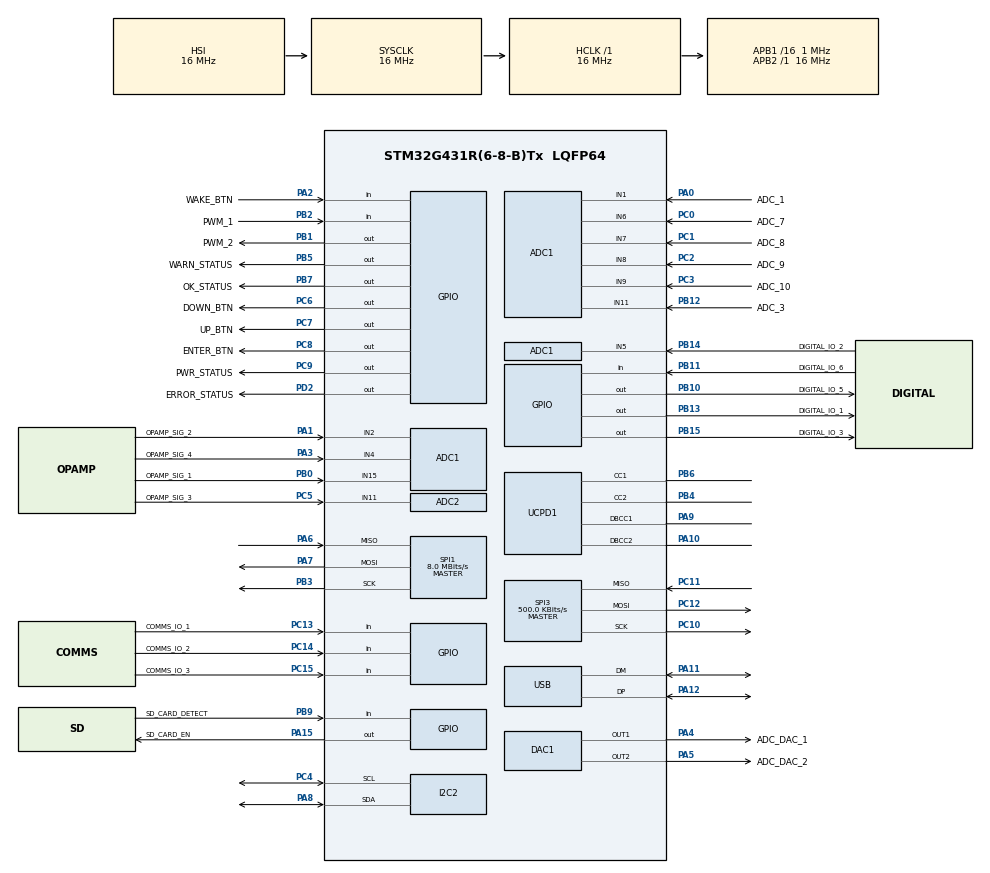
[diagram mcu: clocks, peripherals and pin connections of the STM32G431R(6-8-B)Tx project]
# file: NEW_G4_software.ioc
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ADC1.Channel-0\#ChannelRegularConversion=ADC_CHANNEL_1
ADC1.NbrOfConversionFlag=1
ADC1.OffsetNumber-0\#ChannelRegularConversion=ADC_OFFSET_NONE
ADC1.Rank-0\#ChannelRegularConversion=1
ADC1.SamplingTime-0\#ChannelRegularConversion=ADC_SAMPLETIME_2CYCLES_5
ADC1.master=1
ADC2.Channel-0\#ChannelRegularConversion=ADC_CHANNEL_11
ADC2.NbrOfConversionFlag=1
ADC2.OffsetNumber-0\#ChannelRegularConversion=ADC_OFFSET_NONE
ADC2.Rank-0\#ChannelRegularConversion=1
ADC2.SamplingTime-0\#ChannelRegularConversion=ADC_SAMPLETIME_2CYCLES_5
DAC1.DAC_Channel-DAC_OUT2=DAC_CHANNEL_2
I2C2.Timing=0x00000103
LPTIM1.ClockPrescaler=LPTIM_PRESCALER_DIV64
Mcu.Family=STM32G4
Mcu.Name=STM32G431R(6-8-B)Tx
Mcu.Package=LQFP64
NVIC.PriorityGroup=NVIC_PRIORITYGROUP_4
NVIC.USB_LP_IRQn=true\:0\:0\:false\:false\:true\:false\:true\:true
PA0.GPIO_Label=ADC_1
PA0.Mode=IN1-Single-Ended
PA0.Signal=ADC1_IN1
PA1.GPIO_Label=OPAMP_SIG_2
PA1.Mode=IN2-Single-Ended
PA1.Signal=ADC1_IN2
PA10.Mode=EnableDeadBattery
PA10.Signal=UCPD1_DBCC2
PA11.Mode=Device
PA11.Signal=USB_DM
PA12.Mode=Device
PA12.Signal=USB_DP
PA13.Mode=Serial_Wire
PA13.Signal=SYS_JTMS-SWDIO
PA14.Mode=Serial_Wire
PA14.Signal=SYS_JTCK-SWCLK
PA15.GPIO_Label=SD_CARD_EN
PA15.GPIO_ModeDefaultOutputPP=GPIO_MODE_OUTPUT_PP
PA15.GPIO_PuPd=GPIO_NOPULL
PA15.Signal=GPIO_Output
PA2.GPIO_Label=WAKE_BTN
PA2.Signal=GPIO_Input
PA3.GPIO_Label=OPAMP_SIG_4
PA3.Mode=IN4-Single-Ended
PA3.Signal=ADC1_IN4
PA4.GPIO_Label=ADC_DAC_1
PA4.Signal=COMP_DAC11_group
PA5.GPIO_Label=ADC_DAC_2
PA5.Signal=COMP_DAC12_group
PA6.Mode=Full_Duplex_Master
PA6.Signal=SPI1_MISO
PA7.Mode=Full_Duplex_Master
PA7.Signal=SPI1_MOSI
PA8.Mode=I2C
PA8.Signal=I2C2_SDA
PA9.Mode=EnableDeadBattery
PA9.Signal=UCPD1_DBCC1
PB0.GPIO_Label=OPAMP_SIG_1
PB0.Mode=IN15-Single-Ended
PB0.Signal=ADC1_IN15
PB1.GPIO_Label=PWM_2
PB1.Signal=GPIO_Output
PB10.GPIO_Label=DIGITAL_IO_5
PB10.Signal=GPIO_Output
PB11.GPIO_Label=DIGITAL_IO_6
PB11.Signal=GPIO_Input
PB12.GPIO_Label=ADC_3
PB12.Mode=IN11-Single-Ended
PB12.Signal=ADC1_IN11
PB13.GPIO_Label=DIGITAL_IO_1
PB13.Signal=GPIO_Output
PB14.GPIO_Label=DIGITAL_IO_2
PB14.Mode=IN5-Single-Ended
PB14.Signal=ADC1_IN5
PB15.GPIO_Label=DIGITAL_IO_3
PB15.Signal=GPIO_Output
PB2.GPIO_Label=PWM_1
PB2.Signal=GPIO_Input
PB3.Signal=SharedStack_PB3
PB3.Stacked=true
PB4.Mode=Sink_AllSignals
PB4.Signal=UCPD1_CC2
PB5.GPIO_Label=WARN_STATUS
PB5.GPIO_PuPd=GPIO_NOPULL
PB5.Signal=GPIO_Output
PB6.Mode=Sink_AllSignals
PB6.Signal=UCPD1_CC1
PB7.GPIO_Label=OK_STATUS
PB7.GPIO_ModeDefaultOutputPP=GPIO_MODE_OUTPUT_PP
PB7.GPIO_PuPd=GPIO_NOPULL
PB7.PinState=GPIO_PIN_RESET
PB7.Signal=GPIO_Output
PB9.GPIO_Label=SD_CARD_DETECT
PB9.Signal=GPIO_Input
PC0.GPIO_Label=ADC_7
PC0.Mode=IN6-Single-Ended
PC0.Signal=ADC1_IN6
PC1.GPIO_Label=ADC_8
PC1.Mode=IN7-Single-Ended
PC1.Signal=ADC1_IN7
PC10.Mode=Full_Duplex_Master
PC10.Signal=SPI3_SCK
PC11.Mode=Full_Duplex_Master
PC11.Signal=SPI3_MISO
PC12.Mode=Full_Duplex_Master
PC12.Signal=SPI3_MOSI
PC13.GPIO_Label=COMMS_IO_1
PC13.Signal=GPIO_Input
PC14-OSC32_IN.GPIO_Label=COMMS_IO_2
PC14-OSC32_IN.Signal=GPIO_Input
PC15-OSC32_OUT.GPIO_Label=COMMS_IO_3
PC15-OSC32_OUT.Signal=GPIO_Input
PC2.GPIO_Label=ADC_9
PC2.Mode=IN8-Single-Ended
PC2.Signal=ADC1_IN8
PC3.GPIO_Label=ADC_10
PC3.Mode=IN9-Single-Ended
PC3.Signal=ADC1_IN9
PC4.Mode=I2C
PC4.Signal=I2C2_SCL
PC5.GPIO_Label=OPAMP_SIG_3
PC5.Mode=IN11-Single-Ended
PC5.Signal=ADC2_IN11
PC6.GPIO_Label=DOWN_BTN
PC6.Signal=GPIO_Output
PC7.GPIO_Label=UP_BTN
PC7.Signal=GPIO_Output
PC8.GPIO_Label=ENTER_BTN
PC8.Signal=GPIO_Output
PC9.GPIO_Label=PWR_STATUS
PC9.Signal=GPIO_Output
PD2.GPIO_Label=ERROR_STATUS
PD2.Signal=GPIO_Output
PF0-OSC_IN.Mode=HSE-External-Oscillator
PF0-OSC_IN.Signal=RCC_OSC_IN
PF1-OSC_OUT.Mode=HSE-External-Oscillator
PF1-OSC_OUT.Signal=RCC_OSC_OUT
ProjectManager.HeapSize=0x200
ProjectManager.StackSize=0x400
ProjectManager.TargetToolchain=STM32CubeIDE
RCC.AHBFreq_Value=16000000
RCC.APB1CLKDivider=RCC_HCLK_DIV16
RCC.APB1Freq_Value=1000000
RCC.APB1TimFreq_Value=2000000
RCC.APB2Freq_Value=16000000
RCC.APB2TimFreq_Value=16000000
RCC.CortexFreq_Value=16000000
RCC.EXTERNAL_CLOCK_VALUE=12288000
RCC.HCLKFreq_Value=16000000
RCC.HSE_VALUE=8000000
RCC.HSI48_VALUE=48000000
RCC.HSI_VALUE=16000000
RCC.LSE_VALUE=32768
RCC.PLLN=12
RCC.PLLQ=RCC_PLLQ_DIV4
RCC.SYSCLKFreq_VALUE=16000000
RCC.USBFreq_Value=48000000
RCC.VCOOutputFreq_Value=192000000
RTC.WakeUpClock-WakeUp=RTC_WAKEUPCLOCK_CK_SPRE_17BITS
RTC.WakeUpCounter-WakeUp=65535
SH.COMP_DAC11_group.0=DAC1_OUT1,DAC_OUT1
SH.COMP_DAC12_group.0=DAC1_OUT2,DAC_OUT2
SH.SharedStack_PB3.0=SPI1_SCK,Full_Duplex_Master
SH.SharedStack_PB3.1=SYS_JTDO-SWO
SPI1.CalculateBaudRate=8.0 MBits/s
SPI1.Direction=SPI_DIRECTION_2LINES
SPI1.Mode=SPI_MODE_MASTER
SPI1.VirtualType=VM_MASTER
SPI3.CalculateBaudRate=500.0 KBits/s
SPI3.Direction=SPI_DIRECTION_2LINES
SPI3.Mode=SPI_MODE_MASTER
SPI3.VirtualType=VM_MASTER
USB_DEVICE.CLASS_NAME_FS=CDC
USB_DEVICE.VirtualMode=Cdc
USB_DEVICE.VirtualModeFS=Cdc_FS
VP_ADC1_Vbat_Input.Mode=IN-Vbat
VP_LPTIM1_VS_LPTIM_counterModeInternalClock.Mode=Counts__internal_clock_event_00
VP_RTC_VS_RTC_Activate.Mode=RTC_Enabled
VP_RTC_VS_RTC_WakeUp_intern.Mode=WakeUp
VP_SYS_VS_DBSignals.Mode=DisableDeadBatterySignals
VP_USB_DEVICE_VS_USB_DEVICE_CDC_FS.Mode=CDC_FS
board=custom

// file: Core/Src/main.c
/* USER CODE BEGIN Header */
/**
  ******************************************************************************
  * @file           : main.c
  * @brief          : Main program body
  ******************************************************************************
  * @attention
  *
  * Copyright (c) 2024 STMicroelectronics.
  * All rights reserved.
  *
  * This software is licensed under terms that can be found in the LICENSE file
  * in the root directory of this software component.
  * If no LICENSE file comes with this software, it is provided AS-IS.
  *
  ******************************************************************************
  */
/* USER CODE END Header */
#include "main.h"
#include "adc.h"
#include "dac.h"
#include "i2c.h"
#include "lptim.h"
#include "rtc.h"
#include "spi.h"
#include "ucpd.h"
#include "usb_device.h"
#include "gpio.h"

/* USER CODE BEGIN PV */
#define MCP9804_ADDR 0b0011000 // the last 3 digits change for each pin
#define MCP9804_REG_TEMP 0x05

uint16_t Size = 8;

/*FATFS SDFatFs;    // File system object for SD card logical drive
FIL MyFile;       // File object
char SDPath[4];   // SD card logical drive path*/
/* USER CODE BEGIN PV */
//static void MX_SDMMC1_SD_Init(void);

int32_t readMCP9804Temp(uint8_t tempRegAddr) {
	uint8_t tempData[2];
	int32_t tempC = -100;
	uint8_t store = 0b00000101;
	HAL_I2C_Master_Transmit(&hi2c2, MCP9804_ADDR, &store, 1, HAL_MAX_DELAY);
	if (HAL_I2C_Master_Receive(&hi2c2, MCP9804_ADDR, tempData, 2, HAL_MAX_DELAY) != HAL_OK){
		HAL_GPIO_WritePin(ERROR_STATUS_GPIO_Port, ERROR_STATUS_Pin, GPIO_PIN_RESET); // Turn on error LED
	}
	uint16_t rawTemp = (tempData[0] << 8) | tempData[1];
	rawTemp &= 0x0FFF;  // Clear flags and keep 12 bits
	tempC = rawTemp & 0x0FFF;
	tempC /= 16.0;
	if (rawTemp & 0x1000) {  // Check sign bit
	  tempC -= 256.0;
	}
    return tempC;
}

uint8_t UpperByte, LowerByte;

/* USER CODE END PV */

void SystemClock_Config(void);

/* USER CODE BEGIN 0 */
int main(void)
{

  /* USER CODE BEGIN 1 */

  /* USER CODE END 1 */

  /* MCU Configuration--------------------------------------------------------*/

  /* Reset of all peripherals, Initializes the Flash interface and the Systick. */
  HAL_Init();

  /* USER CODE BEGIN Init */

  /* USER CODE END Init */

  /* Configure the system clock */
  SystemClock_Config();

  /* USER CODE BEGIN SysInit */

  /* USER CODE END SysInit */

  /* Initialize all configured peripherals */
  MX_GPIO_Init();
  MX_ADC1_Init();
  MX_ADC2_Init();
  MX_DAC1_Init();
  MX_SPI1_Init();
  MX_UCPD1_Init();
  MX_I2C2_Init();
  MX_RTC_Init();
  MX_USB_Device_Init();
  MX_SPI3_Init();

  __HAL_RCC_LPTIM1_CLK_ENABLE();

  // Create LPTIM handle
  LPTIM_HandleTypeDef hlptim;
  hlptim.Instance = LPTIM1;

  // Configure LPTIM for continuous mode, source from internal clock
  hlptim.Init.Clock.Source = LPTIM_CLOCKSOURCE_APBCLOCK_LPOSC;
  hlptim.Init.Clock.Prescaler = LPTIM_PRESCALER_DIV1; // No prescaling
  hlptim.Init.CounterSource = LPTIM_COUNTERSOURCE_INTERNAL;
  hlptim.Init.Trigger.Source = LPTIM_TRIGSOURCE_SOFTWARE; // Software trigger
  hlptim.Init.OutputPolarity = LPTIM_OUTPUTPOLARITY_HIGH;
  hlptim.Init.UpdateMode = LPTIM_UPDATE_IMMEDIATE;
  //hlptim.Init.RepetitionCounter = 0;  // No repetition

  // Initialize LPTIM
  HAL_LPTIM_Init(&hlptim);
  /* USER CODE BEGIN 2 */
  uint32_t status = HAL_ERROR;

    int num_bytes = 4;

    uint8_t dataToSend[4];
    dataToSend[0] = 0xFF;// Example data
    dataToSend[1] = 0x5;// Example data
    dataToSend[2] = 0xF0;// Example data
    dataToSend[3] = 0xF;// Example data

    //HAL_StatusTypeDef sts = HAL_OK;

    HAL_GPIO_WritePin(OK_STATUS_GPIO_Port, OK_STATUS_Pin, GPIO_PIN_SET); // Turn off success LED
    HAL_GPIO_WritePin(WARN_STATUS_GPIO_Port, WARN_STATUS_Pin, GPIO_PIN_SET); // Turn off error LED
    HAL_GPIO_WritePin(ERROR_STATUS_GPIO_Port, ERROR_STATUS_Pin, GPIO_PIN_SET); // Turn off error LED

    if (HAL_I2C_Init(&hi2c2) != HAL_OK) {
			// Initialization error
	  HAL_GPIO_WritePin(ERROR_STATUS_GPIO_Port, ERROR_STATUS_Pin, GPIO_PIN_RESET); // Turn on status LED
		}
	uint8_t tempRegAddr = 0x05;
    uint8_t buffer[255];
    char buff[128];

    uint8_t initials = 0b00000010;
    HAL_I2C_Master_Transmit(&hi2c2, MCP9804_ADDR, &initials, 1, HAL_MAX_DELAY);

  /* USER CODE END 2 */

  /* Infinite loop */
  /* USER CODE BEGIN WHILE */
    while (1)
    {
		HAL_Delay(100);
		//HAL_GPIO_WritePin(ERROR_STATUS_GPIO_Port, ERROR_STATUS_Pin, GPIO_PIN_RESET);
		int32_t tempC = readMCP9804Temp(tempRegAddr);
		dataToSend[0] = (tempC >> 24) & 0xFF;
		dataToSend[1] = (tempC >> 16) & 0xFF;
		dataToSend[2] = (tempC >> 8) & 0xFF;
		dataToSend[3] = tempC & 0xFF;
		int amount_fmted = snprintf(buff, sizeof(buff), "temp %ld \r\n", tempC);
		switch (CDC_Transmit_FS((uint8_t*)buff, amount_fmted)){
		case USBD_OK: // if the usb serial is ok it will blink green
			HAL_GPIO_TogglePin(OK_STATUS_GPIO_Port, OK_STATUS_Pin);
			break;
		case USBD_BUSY: // if the device is busy i.e. plugged in but not monitoring it will blink blue
			HAL_GPIO_TogglePin(WARN_STATUS_GPIO_Port, WARN_STATUS_Pin);
			break;
		case USBD_FAIL: // if the device can support USB coms device it will blink red
			HAL_GPIO_TogglePin(ERROR_STATUS_GPIO_Port, ERROR_STATUS_Pin);
			break;
		default:
			break;
		}

    	HAL_Delay(100);
		//HAL_GPIO_WritePin(ERROR_STATUS_GPIO_Port, ERROR_STATUS_Pin, GPIO_PIN_RESET);
    	status = HAL_SPI_Transmit(&hspi3,(uint8_t*)buff, amount_fmted, HAL_MAX_DELAY);
		if (status == HAL_OK) {
			//HAL_GPIO_WritePin(OK_STATUS_GPIO_Port, OK_STATUS_Pin, GPIO_PIN_RESET); // Turn on success LED
			//HAL_GPIO_WritePin(WARN_STATUS_GPIO_Port, WARN_STATUS_Pin, GPIO_PIN_SET); // Turn of error LED
			HAL_GPIO_WritePin(ERROR_STATUS_GPIO_Port, ERROR_STATUS_Pin, GPIO_PIN_SET); // Turn of error LED
		} else {
			HAL_GPIO_WritePin(ERROR_STATUS_GPIO_Port, ERROR_STATUS_Pin, GPIO_PIN_RESET); // Turn on error LED
			//HAL_GPIO_WritePin(WARN_STATUS_GPIO_Port, WARN_STATUS_Pin, GPIO_PIN_SET); // Turn of error LED
			//HAL_GPIO_WritePin(OK_STATUS_GPIO_Port, OK_STATUS_Pin, GPIO_PIN_SET); // Turn of success LED
		}

		//HAL_GPIO_WritePin(ERROR_STATUS_GPIO_Port, ERROR_STATUS_Pin, GPIO_PIN_SET);

		//HAL_GPIO_WritePin(ERROR_STATUS_GPIO_Port, ERROR_STATUS_Pin, GPIO_PIN_SET);

    	/*HAL_Delay(100);
    	int amount_of_bytes = snprintf((char*) buffer, sizeof(buffer), "Temp:%ld \r\n" , tempC);
    	  // int amount_of_bytes = snprintf((char*) spi_buf, sizeof(spi_buf), "%d    ", count++);
    	  // HAL_GPIO_WritePin(COMMS_EN_1_GPIO_Port, COMMS_EN_1_Pin, GPIO_PIN_RESET);
    	  // int status = HAL_SPI_Transmit(&hspi3, spi_buf, amount_of_bytes+4, 1);
    	  // int status = HAL_SPI_Transmit(&hspi3, &count, 1, 1);
    	  // HAL_GPIO_WritePin(COMMS_EN_1_GPIO_Port, COMMS_EN_1_Pin, GPIO_PIN_SET);
    	  // USB_Print("count : %d", count++);

    	  switch (CDC_Transmit_FS((uint8_t*)buffer, amount_of_bytes)){
    	  case USBD_OK: // if the usb serial is ok it will blink green
    	    HAL_GPIO_TogglePin(OK_STATUS_GPIO_Port, OK_STATUS_Pin);
    	    break;
    	   case USBD_BUSY: // if the device is busy i.e. plugged in but not monitoring it will blink blue
    	    HAL_GPIO_TogglePin(WARN_STATUS_GPIO_Port, WARN_STATUS_Pin);
    	    break;
    	  case USBD_FAIL: // if the device can support USB coms device it will blink red
    	    HAL_GPIO_TogglePin(ERROR_STATUS_GPIO_Port, ERROR_STATUS_Pin);
    	    break;
    	  default:
    	    break;
    	  }*/

        /* USER CODE BEGIN 3 */
      }
  /* USER CODE END 3 */
}

/* USER CODE END 0 */

void SystemClock_Config(void)
{
  RCC_OscInitTypeDef RCC_OscInitStruct = {0};
  RCC_ClkInitTypeDef RCC_ClkInitStruct = {0};

  /** Configure the main internal regulator output voltage
  */
  HAL_PWREx_ControlVoltageScaling(PWR_REGULATOR_VOLTAGE_SCALE1);

  /** Initializes the RCC Oscillators according to the specified parameters
  * in the RCC_OscInitTypeDef structure.
  */
  RCC_OscInitStruct.OscillatorType = RCC_OSCILLATORTYPE_HSI|RCC_OSCILLATORTYPE_LSI;
  RCC_OscInitStruct.HSIState = RCC_HSI_ON;
  RCC_OscInitStruct.HSICalibrationValue = RCC_HSICALIBRATION_DEFAULT;
  RCC_OscInitStruct.LSIState = RCC_LSI_ON;
  RCC_OscInitStruct.PLL.PLLState = RCC_PLL_ON;
  RCC_OscInitStruct.PLL.PLLSource = RCC_PLLSOURCE_HSI;
  RCC_OscInitStruct.PLL.PLLM = RCC_PLLM_DIV1;
  RCC_OscInitStruct.PLL.PLLN = 12;
  RCC_OscInitStruct.PLL.PLLP = RCC_PLLP_DIV2;
  RCC_OscInitStruct.PLL.PLLQ = RCC_PLLQ_DIV4;
  RCC_OscInitStruct.PLL.PLLR = RCC_PLLR_DIV2;
  if (HAL_RCC_OscConfig(&RCC_OscInitStruct) != HAL_OK)
  {
    Error_Handler();
  }

  /** Initializes the CPU, AHB and APB buses clocks
  */
  RCC_ClkInitStruct.ClockType = RCC_CLOCKTYPE_HCLK|RCC_CLOCKTYPE_SYSCLK
                              |RCC_CLOCKTYPE_PCLK1|RCC_CLOCKTYPE_PCLK2;
  RCC_ClkInitStruct.SYSCLKSource = RCC_SYSCLKSOURCE_HSI;
  RCC_ClkInitStruct.AHBCLKDivider = RCC_SYSCLK_DIV1;
  RCC_ClkInitStruct.APB1CLKDivider = RCC_HCLK_DIV16;
  RCC_ClkInitStruct.APB2CLKDivider = RCC_HCLK_DIV1;

  if (HAL_RCC_ClockConfig(&RCC_ClkInitStruct, FLASH_LATENCY_0) != HAL_OK)
  {
    Error_Handler();
  }
}

void Error_Handler(void)
{
  __disable_irq();
  while (1)
  {
  }
}
